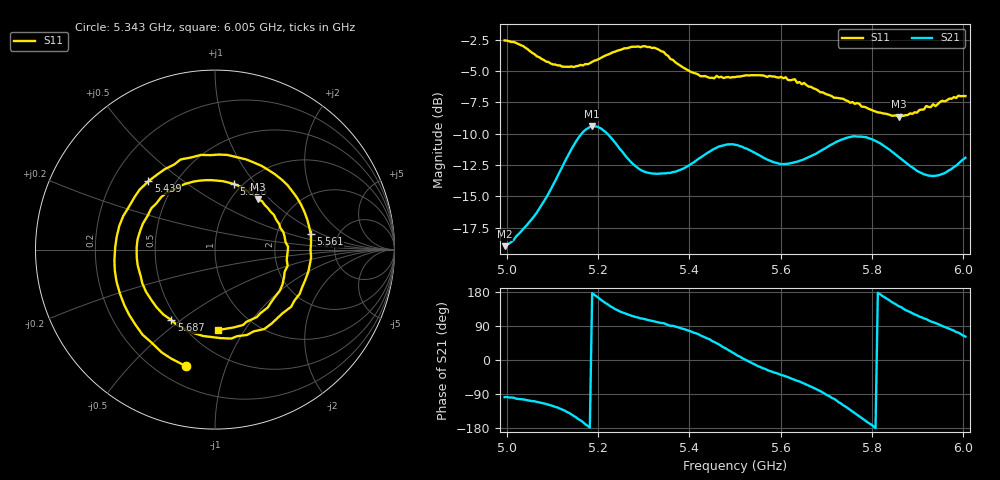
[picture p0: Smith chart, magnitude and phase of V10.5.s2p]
!File created by NanoVNA
# Hz S RI R 50
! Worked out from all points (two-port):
!   201 points, 4.995 GHz to 6.005 GHz, reference 50 ohm
!   highest |S21| = -9.41 dB at 5.187 GHz (marker M1); lowest = -19.0 dB at 4.995 GHz (marker M2)
!   |S21| within 3 dB of the highest: 5.404 GHz to 5.6 GHz (195.5 MHz wide, 3.55 % of centre); 5.61 GHz to 5.878 GHz (267.5 MHz wide, 4.66 % of centre)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
!   lowest |S11| = -8.6 dB at 5.859 GHz (marker M3), VSWR 2.17, Z = 65.7 + j42.8 ohm
!   |S11| at or under -10 dB: nowhere
!   S12 and S22 are empty: the file has one direction only
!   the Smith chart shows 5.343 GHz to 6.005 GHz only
!   S11 on the Smith chart (normalised r, x): 5.343 GHz: 0.31, -0.74; 5.439 GHz: 0.35, +0.38; 5.561 GHz: 3.14, +0.77; 5.687 GHz: 0.46, -0.46; 5.828 GHz: 0.92, +0.78; 6.005 GHz: 0.68, -0.76
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4.995e9  0.2054 -0.7148  -0.0157 -0.1116  0 0  0 0
5.03035e9  -0.3047 -0.6442  -0.0298 -0.125  0 0  0 0
5.0758e9  -0.6221 -0.0867  -0.065 -0.1504  0 0  0 0
5.1263e9  -0.3464 0.4707  -0.1671 -0.1771  0 0  0 0
5.1667e9  0.0859 0.5849  -0.3081 -0.0893  0 0  0 0
5.1869e9  0.3001 0.5329  -0.3379 0.0208  0 0  0 0
5.2576e9  0.683 -0.1108  -0.1436 0.2183  0 0  0 0
5.33335e9  -0.0232 -0.6825  -0.0354 0.2162  0 0  0 0
5.34345e9  -0.16 -0.6507  -0.0274 0.218  0 0  0 0
5.3889e9  -0.5485 -0.1793  0.0347 0.2279  0 0  0 0
5.4394e9  -0.3716 0.3805  0.145 0.2219  0 0  0 0
5.5e9  0.2122 0.4869  0.2743 0.0795  0 0  0 0
5.5606e9  0.5331 0.0864  0.237 -0.0936  0 0  0 0
5.6111e9  0.4245 -0.3183  0.1754 -0.1634  0 0  0 0
5.6717e9  -0.1212 -0.4639  0.0758 -0.2492  0 0  0 0
5.68685e9  -0.2434 -0.3931  0.038 -0.2667  0 0  0 0
5.73735e9  -0.4316 0.0573  -0.1491 -0.2613  0 0  0 0
5.82825e9  0.1056 0.3653  -0.272 0.0721  0 0  0 0
5.83835e9  0.1516 0.3445  -0.2528 0.104  0 0  0 0
5.85855e9  0.2397 0.2812  -0.2014 0.1578  0 0  0 0
5.9343e9  0.4048 -0.0898  -0.0369 0.2113  0 0  0 0
6.005e9  0.0146 -0.4462  0.1201 0.2235  0 0  0 0
